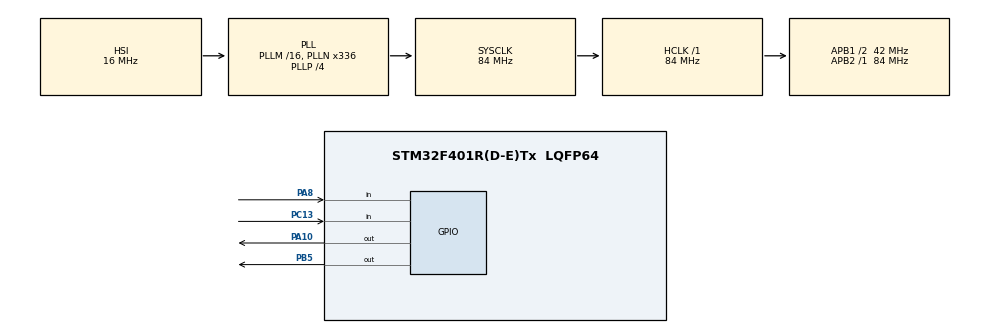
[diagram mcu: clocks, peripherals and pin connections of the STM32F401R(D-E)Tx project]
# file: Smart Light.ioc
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Mcu.Family=STM32F4
Mcu.Name=STM32F401R(D-E)Tx
Mcu.Package=LQFP64
NVIC.PriorityGroup=NVIC_PRIORITYGROUP_0
PA10.GPIO_Speed=GPIO_SPEED_FREQ_MEDIUM
PA10.PinState=GPIO_PIN_SET
PA10.Signal=GPIO_Output
PA13.GPIO_Label=TMS
PA13.Mode=Serial_Wire
PA13.Signal=SYS_JTMS-SWDIO
PA14.GPIO_Label=TCK
PA14.Mode=Serial_Wire
PA14.Signal=SYS_JTCK-SWCLK
PA8.Signal=GPIO_Input
PB3.GPIO_Label=SWO
PB3.Signal=SYS_JTDO-SWO
PB5.Signal=GPIO_Output
PC13-ANTI_TAMP.Signal=GPIO_Input
PC14-OSC32_IN.Mode=LSE-External-Oscillator
PC14-OSC32_IN.Signal=RCC_OSC32_IN
PC15-OSC32_OUT.Mode=LSE-External-Oscillator
PC15-OSC32_OUT.Signal=RCC_OSC32_OUT
PH0\ -\ OSC_IN.Mode=HSE-External-Clock-Source
PH0\ -\ OSC_IN.Signal=RCC_OSC_IN
PH1\ -\ OSC_OUT.Mode=HSE-External-Clock-Source
PH1\ -\ OSC_OUT.Signal=RCC_OSC_OUT
ProjectManager.HeapSize=0x200
ProjectManager.StackSize=0x400
ProjectManager.TargetToolchain=STM32CubeIDE
RCC.48MHZClocksFreq_Value=48000000
RCC.AHBFreq_Value=84000000
RCC.APB1CLKDivider=RCC_HCLK_DIV2
RCC.APB1Freq_Value=42000000
RCC.APB1TimFreq_Value=84000000
RCC.APB2Freq_Value=84000000
RCC.APB2TimFreq_Value=84000000
RCC.CortexFreq_Value=84000000
RCC.HCLKFreq_Value=84000000
RCC.HSE_VALUE=8000000
RCC.HSI_VALUE=16000000
RCC.PLLN=336
RCC.PLLP=RCC_PLLP_DIV4
RCC.PLLQ=7
RCC.SYSCLKFreq_VALUE=84000000
RCC.SYSCLKSource=RCC_SYSCLKSOURCE_PLLCLK
RCC.VCOOutputFreq_Value=336000000
board=NUCLEO-F401RE

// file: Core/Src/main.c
/* USER CODE BEGIN Header */
/**
  ******************************************************************************
  * @file           : main.c
  * @brief          : Main program body
  ******************************************************************************
  * @attention
  *
  * Copyright (c) 2023 STMicroelectronics.
  * All rights reserved.
  *
  * This software is licensed under terms that can be found in the LICENSE file
  * in the root directory of this software component.
  * If no LICENSE file comes with this software, it is provided AS-IS.
  *
  ******************************************************************************
  */
/* USER CODE END Header */
#include "main.h"

void SystemClock_Config(void);
static void MX_GPIO_Init(void);

int main(void)
{

  /* MCU Configuration--------------------------------------------------------*/

  /* Reset of all peripherals, Initializes the Flash interface and the Systick. */
  HAL_Init();

  /* Configure the system clock */
  SystemClock_Config();

  /* Initialize all configured peripherals */
  MX_GPIO_Init();

  /* Infinite loop */
  while (1)
  {

  }
}

void SystemClock_Config(void)
{
  RCC_OscInitTypeDef RCC_OscInitStruct = {0};
  RCC_ClkInitTypeDef RCC_ClkInitStruct = {0};

  /** Configure the main internal regulator output voltage
  */
  __HAL_RCC_PWR_CLK_ENABLE();
  __HAL_PWR_VOLTAGESCALING_CONFIG(PWR_REGULATOR_VOLTAGE_SCALE2);

  /** Initializes the RCC Oscillators according to the specified parameters
  * in the RCC_OscInitTypeDef structure.
  */
  RCC_OscInitStruct.OscillatorType = RCC_OSCILLATORTYPE_HSI;
  RCC_OscInitStruct.HSIState = RCC_HSI_ON;
  RCC_OscInitStruct.HSICalibrationValue = RCC_HSICALIBRATION_DEFAULT;
  RCC_OscInitStruct.PLL.PLLState = RCC_PLL_ON;
  RCC_OscInitStruct.PLL.PLLSource = RCC_PLLSOURCE_HSI;
  RCC_OscInitStruct.PLL.PLLM = 16;
  RCC_OscInitStruct.PLL.PLLN = 336;
  RCC_OscInitStruct.PLL.PLLP = RCC_PLLP_DIV4;
  RCC_OscInitStruct.PLL.PLLQ = 7;
  if (HAL_RCC_OscConfig(&RCC_OscInitStruct) != HAL_OK)
  {
    Error_Handler();
  }

  /** Initializes the CPU, AHB and APB buses clocks
  */
  RCC_ClkInitStruct.ClockType = RCC_CLOCKTYPE_HCLK|RCC_CLOCKTYPE_SYSCLK
                              |RCC_CLOCKTYPE_PCLK1|RCC_CLOCKTYPE_PCLK2;
  RCC_ClkInitStruct.SYSCLKSource = RCC_SYSCLKSOURCE_PLLCLK;
  RCC_ClkInitStruct.AHBCLKDivider = RCC_SYSCLK_DIV1;
  RCC_ClkInitStruct.APB1CLKDivider = RCC_HCLK_DIV2;
  RCC_ClkInitStruct.APB2CLKDivider = RCC_HCLK_DIV1;

  if (HAL_RCC_ClockConfig(&RCC_ClkInitStruct, FLASH_LATENCY_2) != HAL_OK)
  {
    Error_Handler();
  }
}

static void MX_GPIO_Init(void)
{
  GPIO_InitTypeDef GPIO_InitStruct = {0};

  /* GPIO Ports Clock Enable */
  __HAL_RCC_GPIOC_CLK_ENABLE();
  __HAL_RCC_GPIOH_CLK_ENABLE();
  __HAL_RCC_GPIOA_CLK_ENABLE();
  __HAL_RCC_GPIOB_CLK_ENABLE();

  /*Configure GPIO pin Output Level */
  HAL_GPIO_WritePin(GPIOA, GPIO_PIN_10, GPIO_PIN_SET);

  /*Configure GPIO pin Output Level */
  HAL_GPIO_WritePin(GPIOB, GPIO_PIN_5, GPIO_PIN_RESET);

  /*Configure GPIO pin : PC13 */
  GPIO_InitStruct.Pin = GPIO_PIN_13;
  GPIO_InitStruct.Mode = GPIO_MODE_INPUT;
  GPIO_InitStruct.Pull = GPIO_NOPULL;
  HAL_GPIO_Init(GPIOC, &GPIO_InitStruct);

  /*Configure GPIO pin : PA8 */
  GPIO_InitStruct.Pin = GPIO_PIN_8;
  GPIO_InitStruct.Mode = GPIO_MODE_INPUT;
  GPIO_InitStruct.Pull = GPIO_NOPULL;
  HAL_GPIO_Init(GPIOA, &GPIO_InitStruct);

  /*Configure GPIO pin : PA10 */
  GPIO_InitStruct.Pin = GPIO_PIN_10;
  GPIO_InitStruct.Mode = GPIO_MODE_OUTPUT_PP;
  GPIO_InitStruct.Pull = GPIO_NOPULL;
  GPIO_InitStruct.Speed = GPIO_SPEED_FREQ_MEDIUM;
  HAL_GPIO_Init(GPIOA, &GPIO_InitStruct);

  /*Configure GPIO pin : PB5 */
  GPIO_InitStruct.Pin = GPIO_PIN_5;
  GPIO_InitStruct.Mode = GPIO_MODE_OUTPUT_PP;
  GPIO_InitStruct.Pull = GPIO_NOPULL;
  GPIO_InitStruct.Speed = GPIO_SPEED_FREQ_LOW;
  HAL_GPIO_Init(GPIOB, &GPIO_InitStruct);

/* USER CODE BEGIN MX_GPIO_Init_2 */
  int timeArray[] = {10000, 15000, 20000, 30000, 40000};
  int count = 0;
  while (1){
	  uint32_t motionState = HAL_GPIO_ReadPin(GPIOA, GPIO_PIN_8);
	  uint32_t buttonState = HAL_GPIO_ReadPin(GPIOC, GPIO_PIN_13);

	  if (motionState == 1){
		  HAL_GPIO_WritePin(GPIOA, GPIO_PIN_10, GPIO_PIN_SET);
		  HAL_GPIO_WritePin(GPIOA, GPIO_PIN_5, GPIO_PIN_SET);
		  HAL_Delay(timeArray[count]);
	  }else{
		  HAL_GPIO_WritePin(GPIOA, GPIO_PIN_10, GPIO_PIN_RESET);
		  HAL_GPIO_WritePin(GPIOA, GPIO_PIN_5, GPIO_PIN_RESET);
		  HAL_Delay(10);
	  }

	  if (buttonState == 1){
		  if (count != 4)
			  count += 1;
		  else
			  count = 0;
	  }

}

//  while (1){
//	  uint32_t motionState = HAL_GPIO_ReadPin(GPIOB, GPIO_PIN_5);  // checks the bool for PIN5 Motion Sensor
//
//	  if (motionState == 0x01){
//		  HAL_GPIO_WritePin(GPIOA, GPIO_PIN_9, GPIO_PIN_SET);
//	  }
//	  else{
//		  HAL_GPIO_WritePin(GPIOA, GPIO_PIN_9, GPIO_PIN_RESET);
//		  HAL_Delay(1000);  // Adjusted delay to 2000 milliseconds (2 seconds)
//		 }
//}
/* USER CODE END MX_GPIO_Init_2 */
}

void Error_Handler(void)
{
  __disable_irq();
  while (1)
  {
  }
}
